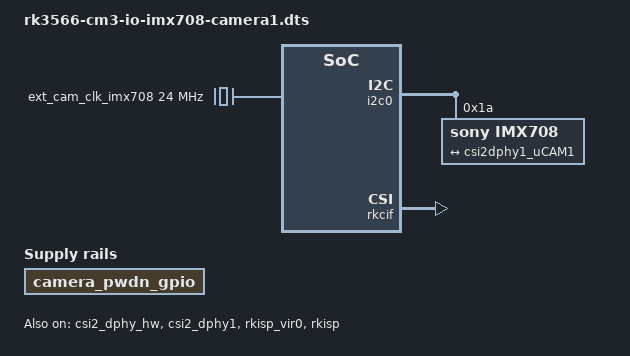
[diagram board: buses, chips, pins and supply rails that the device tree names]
/dts-v1/;
/plugin/;

#include <dt-bindings/gpio/gpio.h>
#include <dt-bindings/pinctrl/rockchip.h>

/ {
	metadata {
		title = "Enable Raspberry Pi Camera v3 on CM3 IO v1.34+ CAM1";
		compatible = "radxa,cm3-io";
		category = "camera";
		exclusive = "csi2_dphy1";
		description = "Enable Raspberry Pi Camera v3 on CM3 IO v1.34+ CAM1.";
	};
};

&{/} {
	dw9817_p1: dw9817_p1@c {
		compatible = "dongwoon,dw9817";
		status = "okay";
		reg = <0x0c>;
		rockchip,camera-module-index = <0>;
		rockchip,vcm-start-current = <10>;
		rockchip,vcm-rated-current = <85>;
		rockchip,vcm-step-mode = <5>;
		rockchip,camera-module-facing = "back";
	};

	ext_cam_clk_imx708: ext-cam-clk-imx708 {
		status = "okay";
		compatible = "fixed-clock";
		clock-frequency = <24000000>;
		clock-output-names = "ext_cam_clk_imx708";
		#clock-cells = <0>;
	};

	camera_pwdn_gpio: camera-pwdn-gpio {
		status = "okay";
		compatible = "regulator-fixed";
		regulator-name = "camera_pwdn_gpio";
		regulator-always-on;
		regulator-boot-on;
		enable-active-high;
		pwdn-gpios = <&gpio4 RK_PC1 GPIO_ACTIVE_HIGH>;
		pinctrl-names = "default";
		pinctrl-0 = <&cam_pwdn_gpio>;
	};
};

&i2c0 {
	status = "okay";
	pinctrl-names = "default";
	pinctrl-0 = <&i2c0_xfer>;

	#address-cells = <1>;
	#size-cells = <0>;

	imx708: imx708@1a {
		status = "okay";
		compatible = "sony,imx708";
		reg = <0x1a>;
		clocks = <&ext_cam_clk_imx708>;
		clock-names = "xclk";
		rockchip,camera-module-index = <1>;
		rockchip,camera-module-facing = "front";
		rockchip,camera-module-name = "arducam-imx708";
		rockchip,camera-module-lens-name = "default";
		lens-focus = <&dw9817_p1>;

		port {
			imx708_out: endpoint {
				remote-endpoint = <&csi2dphy1_uCAM1>;
				data-lanes = <1 2>;
				link-frequencies = /bits/ 64 <450000000>;
			};
		};
	};
};

&csi2_dphy_hw {
	status = "okay";
};

&csi2_dphy0 {
	status = "disabled";
};

&csi2_dphy1 {
	status = "okay";

	ports {
		#address-cells = <1>;
		#size-cells = <0>;

		port@0 {
			reg = <0>;
			#address-cells = <1>;
			#size-cells = <0>;

			csi2dphy1_uCAM1: endpoint@1 {
				reg = <1>;
				remote-endpoint = <&imx708_out>;
				data-lanes = <1 2>;
			};
		};

		port@1 {
			reg = <1>;
			#address-cells = <1>;
			#size-cells = <0>;

			csi2dphy1_out: endpoint@1 {
				reg = <1>;
				remote-endpoint = <&isp0_in>;
			};
		};
	};
};

&csi2_dphy2 {
	status = "disabled";
};

&rkisp_vir0 {
	status = "okay";

	port {
		#address-cells = <1>;
		#size-cells = <0>;

		isp0_in: endpoint@0 {
			reg = <0>;
			remote-endpoint = <&csi2dphy1_out>;
		};
	};
};

&rkisp {
	status = "okay";
};

&rkisp_mmu {
	status = "okay";
};

&rkcif_mmu {
	status = "okay";
};

&rkcif {
	status = "okay";
};

&pinctrl {
	camera {
		cam_pwdn_gpio: cam-pwdn-gpio {
			rockchip,pins = <4 RK_PC1 RK_FUNC_GPIO &pcfg_pull_up>;
		};
	};
};
